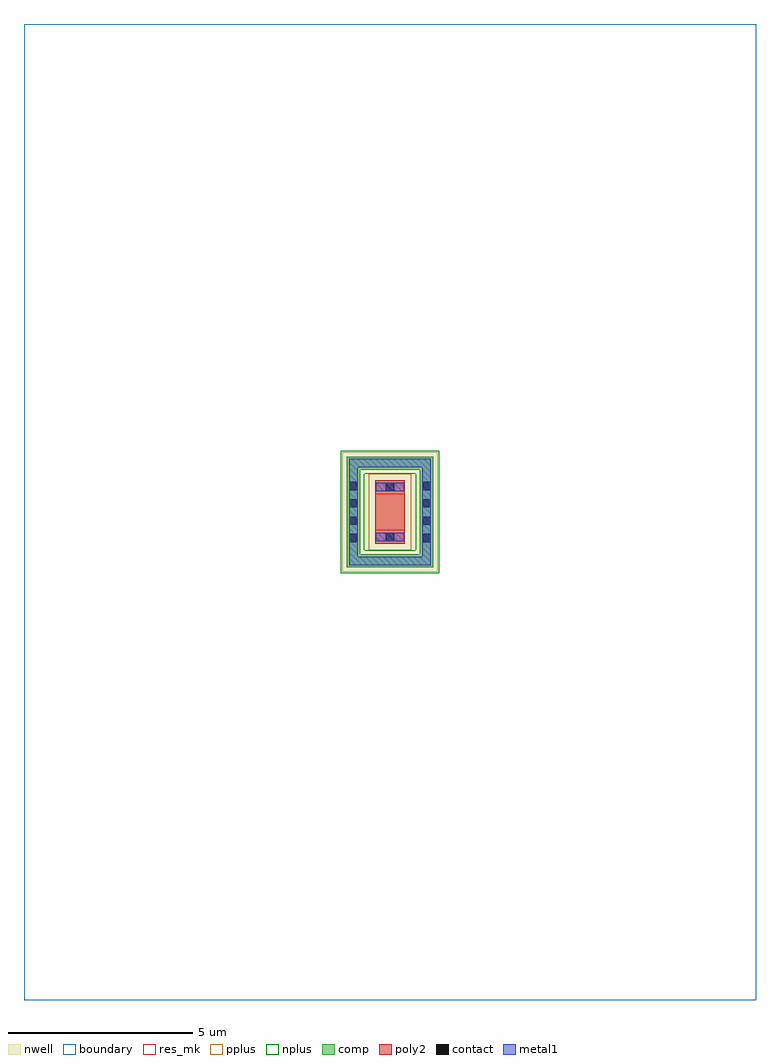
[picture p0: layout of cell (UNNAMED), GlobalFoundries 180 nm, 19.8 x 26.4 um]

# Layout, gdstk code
import gdstk
lib = gdstk.Library(unit=1e-6, precision=1e-09)
def R(c, l, rs):  # rectangles x0, y0, x1, y1
    for r in rs: c.add(gdstk.rectangle(r[:2], r[2:], *l))
def A(c, l, x, y, w, h, nx, ny, dx, dy):  # array of equal rectangles
    R(c, l, [(x+i*dx, y+j*dy, x+i*dx+w, y+j*dy+h) for i in range(nx) for j in range(ny)])
boundary = (0, 0)
nwell = (21, 0)
comp = (22, 0)
poly2 = (30, 0)
pplus = (31, 0)
nplus = (32, 0)
contact = (33, 0)
metal1 = (34, 0)
res_mk = (110, 5)

c__unnamed_ = lib.new_cell('(UNNAMED)')
R(c__unnamed_, boundary, [(-9.9,-13.2,9.9,13.2)])
R(c__unnamed_, nwell, [(-1.29,-1.62,1.29,1.62)])
R(c__unnamed_, comp, [(-1.17,-1.5,1.17,-1.14), (-1.17,-1.14,-0.81,1.14), (0.81,-1.14,1.17,1.14), (-1.17,1.14,1.17,1.5)])
R(c__unnamed_, poly2, [(-0.4,-0.86,0.4,0.86)])
R(c__unnamed_, pplus, [(-0.58,-1.04,0.58,1.04)])
R(c__unnamed_, nplus, [(-1.33,-1.66,1.33,-1.03), (-1.33,-1.03,-0.7,1.03), (0.7,-1.03,1.33,1.03), (-1.33,1.03,1.33,1.66)])
A(c__unnamed_, contact, -1.1, -0.815, 0.22, 0.22, 1, 4, 0, 0.47)
A(c__unnamed_, contact, 0.88, -0.815, 0.22, 0.22, 1, 4, 0, 0.47)
R(c__unnamed_, contact, [(-0.11,-0.79,0.11,-0.57), (-0.11,0.57,0.11,0.79)])
R(c__unnamed_, metal1, [(-1.105,-1.435,1.105,-1.205), (-1.105,-1.205,-0.875,1.205), (0.875,-1.205,1.105,1.205), (-0.39,-0.795,0.39,-0.565), (-0.39,0.565,0.39,0.795), (-1.105,1.205,1.105,1.435)])
R(c__unnamed_, res_mk, [(-0.4,-0.5,0.4,0.5)])

lib.write_gds('_UNNAMED_.gds')
